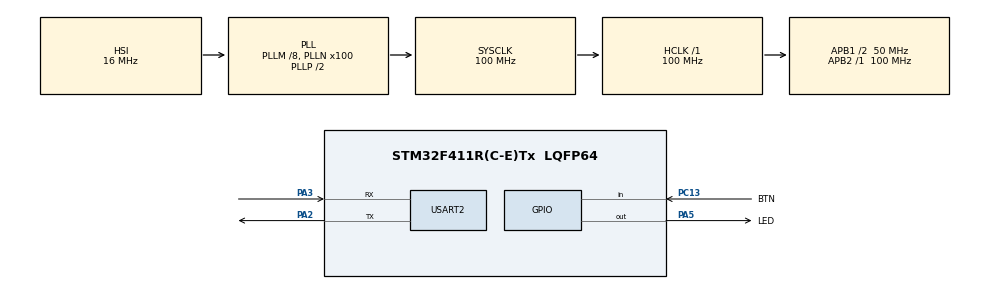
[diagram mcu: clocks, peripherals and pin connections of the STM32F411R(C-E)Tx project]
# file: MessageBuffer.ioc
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FREERTOS.Tasks01=defaultTask,24,128,StartDefaultTask,Default,NULL,Dynamic,NULL,NULL
FREERTOS.configUSE_NEWLIB_REENTRANT=1
Mcu.Family=STM32F4
Mcu.Name=STM32F411R(C-E)Tx
Mcu.Package=LQFP64
NVIC.PriorityGroup=NVIC_PRIORITYGROUP_4
NVIC.TIM1_UP_TIM10_IRQn=true\:15\:0\:false\:false\:true\:false\:false\:true\:true
NVIC.TimeBase=TIM1_UP_TIM10_IRQn
NVIC.TimeBaseIP=TIM1
PA13.Mode=Serial_Wire
PA13.Signal=SYS_JTMS-SWDIO
PA14.Mode=Serial_Wire
PA14.Signal=SYS_JTCK-SWCLK
PA2.Mode=Asynchronous
PA2.Signal=USART2_TX
PA3.Mode=Asynchronous
PA3.Signal=USART2_RX
PA5.GPIO_Label=LED
PA5.Signal=GPIO_Output
PC13-ANTI_TAMP.GPIO_Label=BTN
PC13-ANTI_TAMP.Signal=GPIO_Input
ProjectManager.HeapSize=0x200
ProjectManager.StackSize=0x400
ProjectManager.TargetToolchain=STM32CubeIDE
RCC.48MHZClocksFreq_Value=50000000
RCC.AHBFreq_Value=100000000
RCC.APB1CLKDivider=RCC_HCLK_DIV2
RCC.APB1Freq_Value=50000000
RCC.APB1TimFreq_Value=100000000
RCC.APB2Freq_Value=100000000
RCC.APB2TimFreq_Value=100000000
RCC.CortexFreq_Value=100000000
RCC.HCLKFreq_Value=100000000
RCC.HSE_VALUE=25000000
RCC.HSI_VALUE=16000000
RCC.LSE_VALUE=32768
RCC.PLLM=8
RCC.PLLN=100
RCC.SYSCLKFreq_VALUE=100000000
RCC.SYSCLKSource=RCC_SYSCLKSOURCE_PLLCLK
RCC.VCOOutputFreq_Value=200000000
USART2.VirtualMode=VM_ASYNC
VP_FREERTOS_VS_CMSIS_V2.Mode=CMSIS_V2
VP_SYS_VS_tim1.Mode=TIM1
board=custom

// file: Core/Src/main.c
/* USER CODE BEGIN Header */
/**
  ******************************************************************************
  * @file           : main.c
  * @brief          : Main program body
  ******************************************************************************
  * @attention
  *
  * Copyright (c) 2025 STMicroelectronics.
  * All rights reserved.
  *
  * This software is licensed under terms that can be found in the LICENSE file
  * in the root directory of this software component.
  * If no LICENSE file comes with this software, it is provided AS-IS.
  *
  ******************************************************************************
  */
/* USER CODE END Header */
#include "main.h"
#include "cmsis_os.h"

/* USER CODE BEGIN Includes */
#include "message_buffer.h"
#include <stdio.h>
#include <stdlib.h>
#include <string.h>
/* USER CODE END Includes */

UART_HandleTypeDef huart2;

void SystemClock_Config(void);
static void MX_GPIO_Init(void);
static void MX_USART2_UART_Init(void);

/* USER CODE BEGIN 0 */
void Task1(void *param);
void Task2(void *param);

TaskHandle_t task1_handle;
TaskHandle_t task2_handle;

MessageBufferHandle_t msg_buf_task1_to_task2;
MessageBufferHandle_t msg_buf_task2_to_task1;

char task1_buff[20] = {"\0"};
char task2_buff[20] = {"\0"};
/* USER CODE END 0 */

int main(void)
{

  /* MCU Configuration--------------------------------------------------------*/

  /* Reset of all peripherals, Initializes the Flash interface and the Systick. */
  HAL_Init();

  /* Configure the system clock */
  SystemClock_Config();

  /* Initialize all configured peripherals */
  MX_GPIO_Init();
  MX_USART2_UART_Init();

  /* Init scheduler */
  osKernelInitialize();

  /* USER CODE BEGIN RTOS_EVENTS */
  /* add events, ... */
  xTaskCreate(Task1, "Task1", 512, NULL, 1, &task1_handle);
  xTaskCreate(Task2, "Task2", 512, NULL, 2, &task2_handle);

  msg_buf_task1_to_task2 = xMessageBufferCreate(30);
  msg_buf_task2_to_task1 = xMessageBufferCreate(30);

  vTaskStartScheduler();
  /* USER CODE END RTOS_EVENTS */

  /* Start scheduler */

  /* We should never get here as control is now taken by the scheduler */

  /* Infinite loop */
  while (1)
  {

  }
}

void SystemClock_Config(void)
{
  RCC_OscInitTypeDef RCC_OscInitStruct = {0};
  RCC_ClkInitTypeDef RCC_ClkInitStruct = {0};

  /** Configure the main internal regulator output voltage
  */
  __HAL_RCC_PWR_CLK_ENABLE();
  __HAL_PWR_VOLTAGESCALING_CONFIG(PWR_REGULATOR_VOLTAGE_SCALE1);

  /** Initializes the RCC Oscillators according to the specified parameters
  * in the RCC_OscInitTypeDef structure.
  */
  RCC_OscInitStruct.OscillatorType = RCC_OSCILLATORTYPE_HSI;
  RCC_OscInitStruct.HSIState = RCC_HSI_ON;
  RCC_OscInitStruct.HSICalibrationValue = RCC_HSICALIBRATION_DEFAULT;
  RCC_OscInitStruct.PLL.PLLState = RCC_PLL_ON;
  RCC_OscInitStruct.PLL.PLLSource = RCC_PLLSOURCE_HSI;
  RCC_OscInitStruct.PLL.PLLM = 8;
  RCC_OscInitStruct.PLL.PLLN = 100;
  RCC_OscInitStruct.PLL.PLLP = RCC_PLLP_DIV2;
  RCC_OscInitStruct.PLL.PLLQ = 4;
  if (HAL_RCC_OscConfig(&RCC_OscInitStruct) != HAL_OK)
  {
    Error_Handler();
  }

  /** Initializes the CPU, AHB and APB buses clocks
  */
  RCC_ClkInitStruct.ClockType = RCC_CLOCKTYPE_HCLK|RCC_CLOCKTYPE_SYSCLK
                              |RCC_CLOCKTYPE_PCLK1|RCC_CLOCKTYPE_PCLK2;
  RCC_ClkInitStruct.SYSCLKSource = RCC_SYSCLKSOURCE_PLLCLK;
  RCC_ClkInitStruct.AHBCLKDivider = RCC_SYSCLK_DIV1;
  RCC_ClkInitStruct.APB1CLKDivider = RCC_HCLK_DIV2;
  RCC_ClkInitStruct.APB2CLKDivider = RCC_HCLK_DIV1;

  if (HAL_RCC_ClockConfig(&RCC_ClkInitStruct, FLASH_LATENCY_3) != HAL_OK)
  {
    Error_Handler();
  }
}

static void MX_USART2_UART_Init(void)
{

  huart2.Instance = USART2;
  huart2.Init.BaudRate = 115200;
  huart2.Init.WordLength = UART_WORDLENGTH_8B;
  huart2.Init.StopBits = UART_STOPBITS_1;
  huart2.Init.Parity = UART_PARITY_NONE;
  huart2.Init.Mode = UART_MODE_TX_RX;
  huart2.Init.HwFlowCtl = UART_HWCONTROL_NONE;
  huart2.Init.OverSampling = UART_OVERSAMPLING_16;
  if (HAL_UART_Init(&huart2) != HAL_OK)
  {
    Error_Handler();
  }

}

static void MX_GPIO_Init(void)
{
  GPIO_InitTypeDef GPIO_InitStruct = {0};

  /* GPIO Ports Clock Enable */
  __HAL_RCC_GPIOC_CLK_ENABLE();
  __HAL_RCC_GPIOA_CLK_ENABLE();

  /*Configure GPIO pin Output Level */
  HAL_GPIO_WritePin(LED_GPIO_Port, LED_Pin, GPIO_PIN_RESET);

  /*Configure GPIO pin : BTN_Pin */
  GPIO_InitStruct.Pin = BTN_Pin;
  GPIO_InitStruct.Mode = GPIO_MODE_INPUT;
  GPIO_InitStruct.Pull = GPIO_NOPULL;
  HAL_GPIO_Init(BTN_GPIO_Port, &GPIO_InitStruct);

  /*Configure GPIO pin : LED_Pin */
  GPIO_InitStruct.Pin = LED_Pin;
  GPIO_InitStruct.Mode = GPIO_MODE_OUTPUT_PP;
  GPIO_InitStruct.Pull = GPIO_NOPULL;
  GPIO_InitStruct.Speed = GPIO_SPEED_FREQ_LOW;
  HAL_GPIO_Init(LED_GPIO_Port, &GPIO_InitStruct);

}

/* USER CODE BEGIN 4 */
#define getMS() (xTaskGetTickCount() * (1000 / configTICK_RATE_HZ))
uint8_t task1_send_err = 0;
uint8_t task1_receive_err = 0;
uint32_t task1_last_received = 0;

void Task1(void *param)
{
	uint32_t prev_time = 0;
	char tx[20] = {"\0"};
	uint8_t cnt = 0;
	while(1)
	{

		if((getMS() - prev_time) >= 500){
			prev_time = getMS();
			cnt++;
			sprintf(tx,"task1:%d\r\n", cnt);
			if(xMessageBufferSend(msg_buf_task1_to_task2, tx, strlen(tx), pdMS_TO_TICKS(10)) != strlen(tx))
				task1_send_err++;
		}

		if(xMessageBufferReceive(msg_buf_task2_to_task1, task1_buff, 30, pdMS_TO_TICKS(5)) == 0)
			task1_receive_err++;
		else task1_last_received = getMS();

		vTaskDelay(1);
	}
}

uint8_t task2_send_err = 0;
uint8_t task2_receive_err = 0;
uint32_t task2_last_received = 0;

void Task2(void *param)
{
	uint32_t prev_time = 0;
	char tx[20] = {"\0"};
	uint8_t cnt = 0;
	while(1)
	{

		if((getMS() - prev_time) >= 500){
			prev_time = getMS();
			cnt++;
			sprintf(tx,"task2:%d\r\n", cnt);
			if(xMessageBufferSend(msg_buf_task2_to_task1, tx, strlen(tx), pdMS_TO_TICKS(10)) != strlen(tx))
				task2_send_err++;
		}

		if(xMessageBufferReceive(msg_buf_task1_to_task2, task2_buff, 30, pdMS_TO_TICKS(5)) == 0)
			task2_receive_err++;
		else task2_last_received = getMS();

		vTaskDelay(1);
	}
}
/* USER CODE END 4 */

void HAL_TIM_PeriodElapsedCallback(TIM_HandleTypeDef *htim)
{
  if (htim->Instance == TIM1)
  {
    HAL_IncTick();
  }
}

void Error_Handler(void)
{
  __disable_irq();
  while (1)
  {
  }
}
